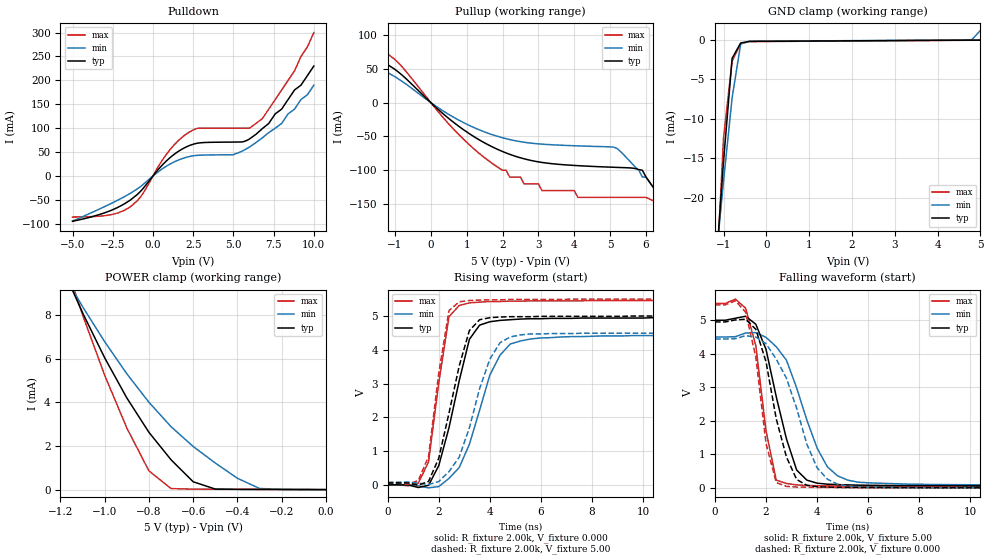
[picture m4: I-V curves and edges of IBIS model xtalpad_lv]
| [Disclaimer] (C) Copyright ATMEL Norway 2006 Atmel Norway makes no warranty
| for the use of its products, other than those explicitly
| stated in the Company's standard warranty which is detailed in
| Atmel's Terms and Conditions located on the Company's web
| site. The Company assumes no responsibility for any errors
| which may appear in this document. The user is granted this
| license only to use the IBIS model and is not granted rights
| to sell, load, rent, lease or license the IBIS model in whole
| or in part, or in modified form to anyone other than user.
| User may modify the IBIS model to suit its specific
| applications but rights to derivative works and such
| modifications shall belong to Atmel Norway. This IBIS model is
| provided on an \"AS IS\" basis and Atmel Norway makes
| absolutely no warranty with respect to the information
| contained herein.
| [Copyright] Copyright (c) 2008 by ATMEL Norway
| From m32a5t44.ibs, atmega32a_50_tqfp44, Atmel Corp.
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|   Model xtalpad_lv
[Model]   xtalpad_lv
Model_type   I/O
Polarity   Non-Inverting
Enable   Active-High
Vinl =   1.50V
Vinh =   3.50V
Vmeas =   2.50V
Cref =  50.00pF
C_comp   3.57pF   3.57pF   4.33pF
[Temperature Range]   27.00   0.12k   -55.00
[Voltage Range]   5.00V   4.50V   5.50V
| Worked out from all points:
|   slope of the pulldown table from 0 to 0.75 V, typ, clamps not added: 26.2 ohm
|   slope of the pullup table from 0 to 0.75 V, typ, clamps not added: 22.2 ohm
|   GND clamp passes 1 mA (typ) near -0.66 V on its own axis
|   POWER clamp passes 1 mA (typ) near -0.66 V on its own axis
|   rising waveform, R_fixture 2.00k, V_fixture 0.000: 20-80 % time 936ps typ, 1.19ns min, 605ps max; typ from 0 V to 4.95 V
|   rising waveform, R_fixture 2.00k, V_fixture 5.00: 20-80 % time 910ps typ, 1.09ns min, 590ps max; typ from 0.057 V to 5 V
|   falling waveform, R_fixture 2.00k, V_fixture 5.00: 20-80 % time 945ps typ, 1.27ns min, 614ps max; typ from 5 V to 0.057 V
|   falling waveform, R_fixture 2.00k, V_fixture 0.000: 20-80 % time 858ps typ, 1.23ns min, 618ps max; typ from 4.95 V to 0 V
[Pulldown]
| voltage   I(typ)   I(min)   I(max)
-5V       -94.5mA    -94.6mA    -85.7mA
-2.6V     -71.8mA    -57.4mA    -80.8mA
-1.4V     -50.05mA   -35.97mA   -64.18mA
-700mV    -29.29mA   -20.05mA   -40.23mA
1V        36.64mA    23.9mA     52.64mA
2.4V      65.41mA    41.71mA    94.55mA
5V        71.07mA    44.52mA    100mA
6V        77.53mA    60.79mA    100mA
6.8V      99.22mA    79.96mA    120mA
8V        140mA      110mA      180mA
8.8V      180mA      140mA      220mA
10V       230mA      190mA      300mA
[Pullup]
| voltage   I(typ)   I(min)   I(max)
-5V       99.3mA     100mA      110mA
-2.6V     88.73mA    77.59mA    110mA
-1.4V     62.89mA    50.2mA     79.87mA
1.2V      -50.22mA   -36.84mA   -68.26mA
2.2V      -76.41mA   -54.61mA   -110mA
3.1V      -88.42mA   -61.42mA   -130mA
5.2V      -95.77mA   -67.99mA   -140mA
5.9V      -100mA     -110mA     -140mA
6.4V      -140mA     -140mA     -150mA
6.8V      -180mA     -160mA     -190mA
7.2V      -210mA     -190mA     -240mA
10V       -470mA     -390mA     -580mA
[GND_clamp]
| voltage   I(typ)   I(min)   I(max)
-5V       -360mA     -280mA     -480mA
-1.2V     -30.57mA   -29.16mA   -33.8mA
-1V       -15.37mA   -17.91mA   -12.43mA
-800mV    -2.32mA    -7.33mA    -2.67mA
-600mV    -370uA     -500uA     -460uA
-400mV    -170uA     -150uA     -190uA
4.8V      -6.32uA    51.74uA    -22.75uA
5V        87.06pA    1.22mA     -16.25uA
[POWER_clamp]
| voltage   I(typ)   I(min)   I(max)
-5V       130mA      110mA      170mA
-1.2V     10.39mA    10.14mA    11.12mA
-1.1V     8.12mA     8.4mA      8.02mA
-1V       6.05mA     6.79mA     5.25mA
-900mV    4.21mA     5.32mA     2.83mA
-800mV    2.63mA     4.01mA     860uA
-700mV    1.37mA     2.89mA     47.57uA
-600mV    360uA      1.98mA     20.4uA
-500mV    24.2uA     1.22mA     16.27uA
-400mV    12.83uA    520uA      13uA
-300mV    9.49uA     51.74uA    9.75uA
0V        87.06pA    1.96nA     44.26pA
[Ramp]
| variable   typ   min   max
dV/dt_r   2.97/0.74n   2.66/1.13n   3.28/0.53n
dV/dt_f   2.97/0.77n   2.65/1.23n   3.27/0.53n
R_load = 2.00k
[Rising Waveform]
R_fixture = 2.00k
V_fixture = 0.000
V_fixture_min = 0.000
V_fixture_max = 0.000
| time   V(typ)   V(min)   V(max)
0s        0V         0V         0V
1.2ns     -79.5mV    -32.24mV   50.73mV
1.6ns     -13.84mV   -89.67mV   680mV
2.4ns     1.69V      190mV      4.98V
2.8ns     3.08V      510mV      5.31V
3.2ns     4.31V      1.2V       5.39V
3.6ns     4.73V      2.21V      5.41V
4ns       4.83V      3.25V      5.43V
4.8ns     4.89V      4.17V      5.44V
20ns      4.95V      4.44V      5.46V
[Rising Waveform]
R_fixture = 2.00k
V_fixture = 5.00
V_fixture_min = 4.50
V_fixture_max = 5.50
| time   V(typ)   V(min)   V(max)
0s        57.27mV    78.6mV     43.63mV
1.2ns     -8.3mV     49.44mV    130mV
1.6ns     100mV      10.26mV    840mV
2.4ns     2.12V      390mV      5.16V
2.8ns     3.52V      820mV      5.42V
3.2ns     4.57V      1.69V      5.46V
3.6ns     4.89V      2.85V      5.47V
4ns       4.95V      3.72V      5.48V
4.8ns     4.98V      4.38V      5.49V
20ns      5V         4.5V       5.5V
[Falling Waveform]
R_fixture = 2.00k
V_fixture = 5.00
V_fixture_min = 4.50
V_fixture_max = 5.50
| time   V(typ)   V(min)   V(max)
0s        5V         4.5V       5.5V
1.2ns     5.12V      4.62V      5.36V
1.6ns     4.88V      4.63V      4.24V
2ns       4.13V      4.49V      1.7V
2.4ns     2.72V      4.21V      230mV
3.2ns     530mV      2.98V      87.32mV
4ns       140mV      1.19V      63.43mV
4.4ns     110mV      630mV      58.23mV
5.2ns     88.51mV    230mV      52.19mV
20ns      57.3mV     79.02mV    43.64mV
[Falling Waveform]
R_fixture = 2.00k
V_fixture = 0.000
V_fixture_min = 0.000
V_fixture_max = 0.000
| time   V(typ)   V(min)   V(max)
0s        4.95V      4.44V      5.46V
1.2ns     5.03V      4.54V      5.24V
1.6ns     4.73V      4.5V       3.9V
2ns       3.76V      4.3V       1.32V
2.4ns     2.06V      3.84V      160mV
2.8ns     920mV      3.27V      44.6mV
3.2ns     250mV      2.37V      24.37mV
4ns       34.77mV    600mV      13.41mV
4.8ns     17.03mV    110mV      8.67mV
20ns      28.89uV    170uV      5.93uV
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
